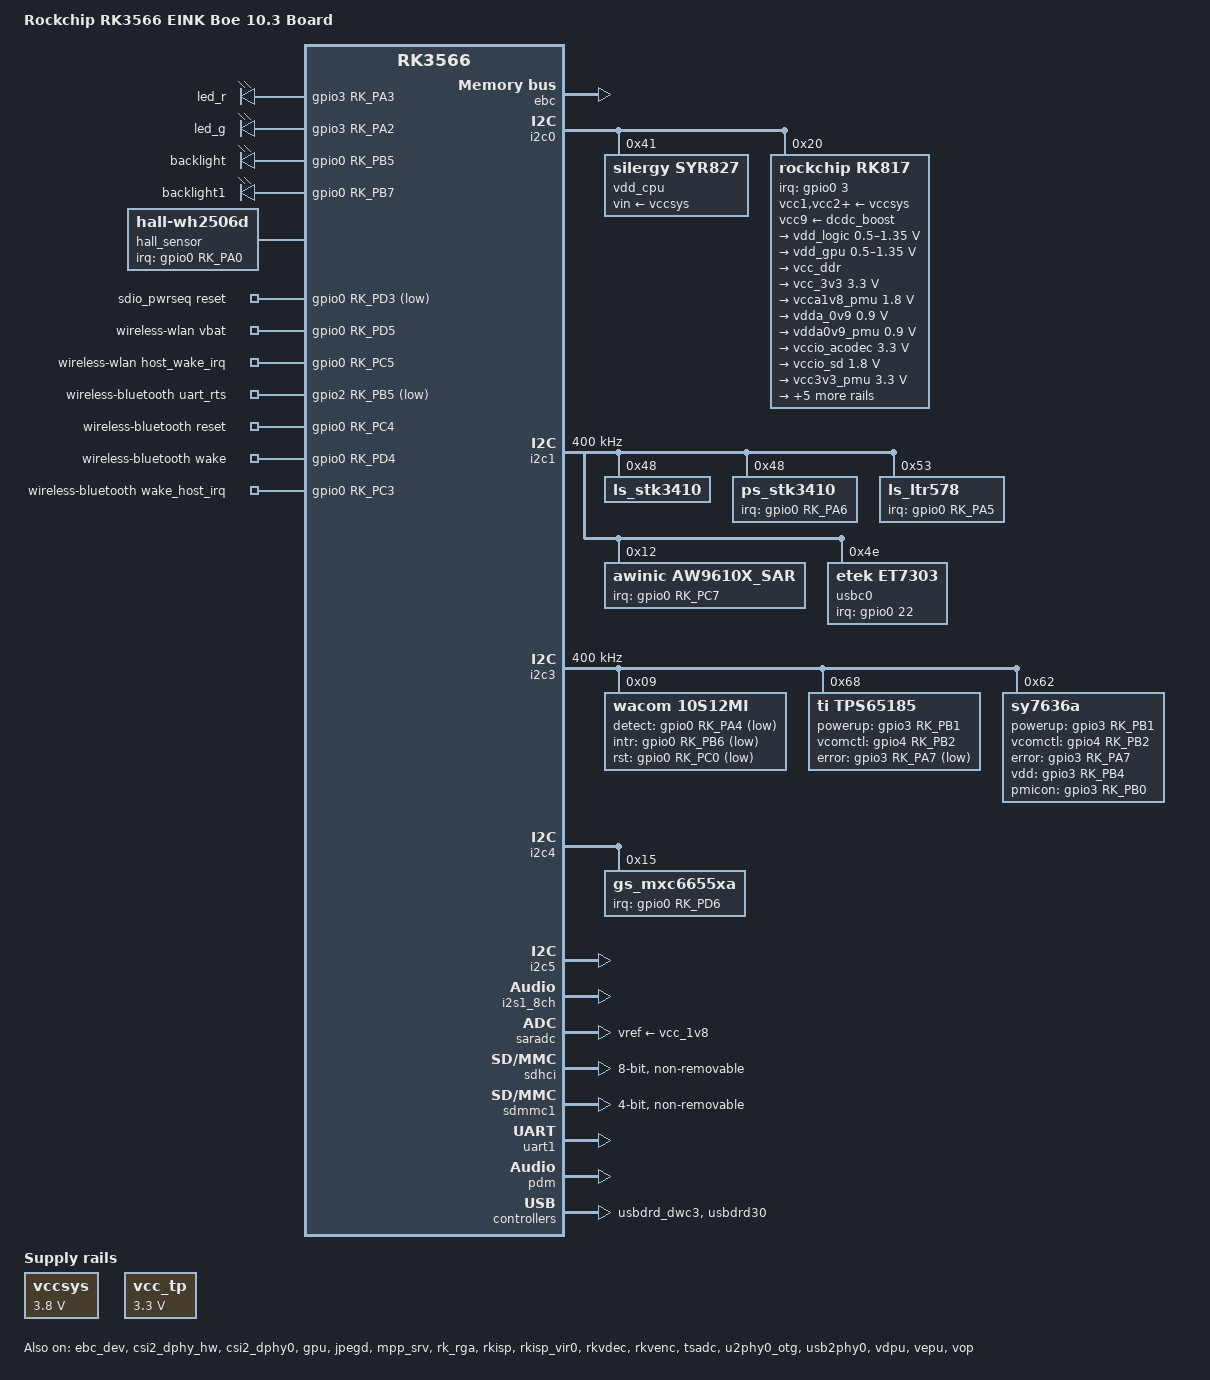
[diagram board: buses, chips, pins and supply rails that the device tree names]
// SPDX-License-Identifier: (GPL-2.0+ OR MIT)
/*
 * Copyright (c) 2020 Rockchip Electronics Co., Ltd.
 *
 */

/dts-v1/;

#include <dt-bindings/gpio/gpio.h>
#include <dt-bindings/pinctrl/rockchip.h>
#include <dt-bindings/input/rk-input.h>
#include <dt-bindings/sensor-dev.h>
#include <dt-bindings/display/drm_mipi_dsi.h>
#include <dt-bindings/usb/pd.h>
#include "rk3566.dtsi"
#include "rk3568-android.dtsi"
#include "rk3566-eink.dtsi"

/ {
    model = "Rockchip RK3566 EINK Boe 10.3 Board";
    compatible = "rockchip,rk3566-rk817-eink", "rockchip,rk3566";

    ramoops_mem: ramoops_mem {
        reg = <0x0 0x110000 0x0 0xf0000>;
        reg-names = "ramoops_mem";
    };

    ramoops {
        compatible = "ramoops";
        record-size = <0x0 0x20000>;
        console-size = <0x0 0x80000>;
        ftrace-size = <0x0 0x00000>;
        pmsg-size = <0x0 0x50000>;
        memory-region = <&ramoops_mem>;
    };

    charge-animation {
        status = "okay";
        compatible = "rockchip,uboot-charge";
        rockchip,uboot-charge-on = <0>;
        rockchip,android-charge-on = <0>;
        rockchip,uboot-low-power-voltage = <3350>;
        rockchip,screen-on-voltage = <3400>;
        rockchip,auto-wakeup-interval = <60>;
    };

    adc_keys: adc-keys {
        status = "disabled";
        compatible = "adc-keys";
        io-channels = <&saradc 0>;
        io-channel-names = "buttons";
        keyup-threshold-microvolt = <1800000>;
        poll-interval = <100>;

        vol-up-key {
            label = "volume up";
            linux,code = <KEY_VOLUMEUP>;
            press-threshold-microvolt = <9000>;
        };

        vol-down-key {
            label = "volume down";
            linux,code = <KEY_VOLUMEDOWN>;
            press-threshold-microvolt = <235000>;
        };
    };

    gpio_keys: gpio-keys {
        status = "disabled";
        compatible = "gpio-keys";
        autorepeat;

        BACK {
            label = "GPIO Key Home";
            debounce-interval = <10>;
            interrupt-parent = <&gpio0>;
            interrupts = <13 IRQ_TYPE_LEVEL_LOW>;
            linux,input-type = <EV_KEY>;
            linux,code = <KEY_BACK>;
        };
    };

    leds: gpio-leds {
        status = "okay";
        compatible = "gpio-leds";
        led@2 {
            gpios = <&gpio3 RK_PA3 GPIO_ACTIVE_HIGH>;
            linux,default-trigger = "battery-charging";
            label = "led_r";
            retain-state-suspended;
        };

        led@1 {
            gpios = <&gpio3 RK_PA2 GPIO_ACTIVE_HIGH>;
            linux,default-trigger = "battery-charging-or-full";
            label = "led_g";
            default-state = "off";
        };
	led@3 {
            gpios = <&gpio0 RK_PB5 GPIO_ACTIVE_HIGH>;
            //linux,default-trigger = "battery-charging";
            label = "backlight";
            retain-state-suspended;
        };

        led@4 {
            gpios = <&gpio0 RK_PB7 GPIO_ACTIVE_HIGH>;
            //linux,default-trigger = "battery-charging-or-full";
            label = "backlight1";
            default-state = "off";
        };
    };

    hall_sensor: hall-wh2506d {
        status = "okay";
        compatible = "hall-wh2506d";
        pinctrl-names = "default";
        pinctrl-0 = <&hall_irq_gpio>;
        irq-gpio = <&gpio0 RK_PA0 IRQ_TYPE_EDGE_BOTH>;
        hall-active = <1>;
    };

    vccsys: vccsys {
        compatible = "regulator-fixed";
        regulator-name = "vcc3v8_sys";
        regulator-always-on;
        regulator-boot-on;
        regulator-min-microvolt = <3800000>;
        regulator-max-microvolt = <3800000>;
    };

    vcc_tp: vcc-tp-regulator {
        compatible = "regulator-fixed";
        enable-active-high;
        regulator-name = "vcc_tp";
        regulator-boot-on;
        startup-delay-us = <10000>;
        regulator-min-microvolt = <3300000>;
        regulator-max-microvolt = <3300000>;
    };

    rk817_sound: rk817-sound {
        compatible = "simple-audio-card";
        simple-audio-card,format = "i2s";
        simple-audio-card,name = "rockchip,rk817-codec";
        simple-audio-card,mclk-fs = <256>;

        simple-audio-card,cpu {
            sound-dai = <&i2s1_8ch>;
        };
        simple-audio-card,codec {
            sound-dai = <&rk817_codec>;
        };
    };

    pdmics: dummy-codec {
        status = "okay";
        compatible = "rockchip,dummy-codec";
        #sound-dai-cells = <0>;
    };

    pdm_mic_array: pdm-mic-array {
        status = "okay";
        compatible = "simple-audio-card";
        simple-audio-card,name = "rockchip,pdm-mic-array";
        simple-audio-card,cpu {
            sound-dai = <&pdm>;
        };
        simple-audio-card,codec {
            sound-dai = <&pdmics>;
        };
    };

    sdio_pwrseq: sdio-pwrseq {
        compatible = "mmc-pwrseq-simple";
        clocks = <&rk817 1>;
        clock-names = "ext_clock";
        pinctrl-names = "default";
        pinctrl-0 = <&wifi_enable_h>;

        /*
         * On the module itself this is one of these (depending
         * on the actual card populated):
         * - SDIO_RESET_L_WL_REG_ON
         * - PDN (power down when low)
         */
        post-power-on-delay-ms = <200>;
        reset-gpios = <&gpio0 RK_PD3 GPIO_ACTIVE_LOW>;
    };

    wireless-wlan {
        status = "okay";
        compatible = "wlan-platdata";
        rockchip,grf = <&grf>;
        wifi_chip_type = "";
        pinctrl-names = "default";
        pinctrl-0 = <&wifi_gpio>;
        WIFI,vbat_gpio = <&gpio0 RK_PD5 GPIO_ACTIVE_HIGH>;
        WIFI,host_wake_irq = <&gpio0 RK_PC5 GPIO_ACTIVE_HIGH>;
    };

    wireless-bluetooth {
        status = "okay";
        compatible = "bluetooth-platdata";
        clocks = <&rk817 1>;
        clock-names = "ext_clock";
        wifi-bt-power-toggle;
        uart_rts_gpios = <&gpio2 RK_PB5 GPIO_ACTIVE_LOW>;
        pinctrl-names = "default", "rts_gpio";
        pinctrl-0 = <&uart1m0_rtsn>, <&bt_reset_gpio>, <&bt_wake_gpio>, <&bt_irq_gpio>;
        pinctrl-1 = <&uart1_gpios>;
        BT,reset_gpio = <&gpio0 RK_PC4 GPIO_ACTIVE_HIGH>;
        BT,wake_gpio = <&gpio0 RK_PD4 GPIO_ACTIVE_HIGH>;
        BT,wake_host_irq = <&gpio0 RK_PC3 GPIO_ACTIVE_HIGH>;
    };

    backlight: backlight {
        compatible = "pwm-backlight";
        pwms = <&pwm0 0 25000 0>;
        brightness-levels = <
            0   20  20  21  21  22  22  23
            23  24  24  25  25  26  26  27
            27  28  28  29  29  30  30  31
            31  32  32  33  33  34  34  35
            35  36  36  37  37  38  38  39
            40  41  42  43  44  45  46  47
            48  49  50  51  52  53  54  55
            56  57  58  59  60  61  62  63
            64  65  66  67  68  69  70  71
            72  73  74  75  76  77  78  79
            80  81  82  83  84  85  86  87
            88  89  90  91  92  93  94  95
            96  97  98  99 100 101 102 103
            104 105 106 107 108 109 110 111
            112 113 114 115 116 117 118 119
            120 121 122 123 124 125 126 127
            128 129 130 131 132 133 134 135
            136 137 138 139 140 141 142 143
            144 145 146 147 148 149 150 151
            152 153 154 155 156 157 158 159
            160 161 162 163 164 165 166 167
            168 169 170 171 172 173 174 175
            176 177 178 179 180 181 182 183
            184 185 186 187 188 189 190 191
            192 193 194 195 196 197 198 199
            200 201 202 203 204 205 206 207
            208 209 210 211 212 213 214 215
            216 217 218 219 220 221 222 223
            224 225 226 227 228 229 230 231
            232 233 234 235 236 237 238 239
            240 241 242 243 244 245 246 247
            248 249 250 251 252 253 254 255
        >;
        default-brightness-level = <200>;
		status = "disabled";
    };
};

&ebc {
    /* clock rate 1000M/n, (n=1~32) */
    assigned-clocks = <&cru CPLL_333M>, <&cru DCLK_EBC>;
    assigned-clock-rates = <34000000>, <34000000>;
    status = "okay";
};

&ebc_dev {
    pmic = <&sy7636a>;
    /* ES103TC1 */
    panel,width = <1872>;
    panel,height = <1404>;
    panel,vir_width = <1872>;
    panel,vir_height = <1404>;
    panel,sdck = <34000000>;
    panel,lsl = <18>;
    panel,lbl = <17>;
    panel,ldl = <234>;
    panel,lel = <15>;  // 470ns
    panel,gdck-sta = <34>;
    panel,lgonl = <192>;
    panel,fsl = <1>;
    panel,fbl = <4>;
    panel,fdl = <1404>;
    panel,fel = <12>;
    panel,mirror = <1>;
    panel,panel_16bit = <1>;
    panel,panel_color = <0>;
    panel,width-mm = <210>;
    panel,height-mm = <157>;
	panel,dpi = <220>;
    panel,vcom-mv = <1670>;
    status = "okay";
};

// 20220523,hsl fix: 6*fb_size + 2*lcd_size + 512K 
// 10.3: 6*2628288 + 2*657088 + 512*1024= 17608192 = 0X10CAE00
&display_reserved {
	reg = <0x0 0x10900000 0x0 0x10d0000>;
};

&cpu0 {
    cpu-supply = <&vdd_cpu>;
};

&csi2_dphy_hw {
    status = "okay";
};

&csi2_dphy0 {
    status = "okay";

    ports {
        #address-cells = <1>;
        #size-cells = <0>;
        port@0 {
            reg = <0>;
            #address-cells = <1>;
            #size-cells = <0>;

            mipi_in_ucam0: endpoint@0 {
                reg = <0>;
                //remote-endpoint = <&gc5035_out>;
                data-lanes = <1 2>;
            };
        };
        port@1 {
            reg = <1>;
            #address-cells = <1>;
            #size-cells = <0>;

            csidphy0_out: endpoint@0 {
                reg = <0>;
                remote-endpoint = <&isp0_in>;
            };
        };
    };
};

&gpu {
    mali-supply = <&vdd_gpu>;
    status = "okay";
};

&hdmi {
    status = "disabled";
};

&hdmi_in_vp0 {
    status = "disabled";
};

&hdmi_in_vp1 {
    status = "disabled";
};

&i2c0 {
    status = "okay";

    vdd_cpu: syr827@41 {
        status = "okay";
        compatible = "silergy,syr827";
        reg = <0x41>;
        vin-supply = <&vccsys>;
        regulator-compatible = "fan53555-reg";
        regulator-name = "vdd_cpu";
        regulator-min-microvolt = <712500>;
        regulator-max-microvolt = <1390000>;
        regulator-init-microvolt = <900000>;
        regulator-ramp-delay = <2300>;
        fcs,suspend-voltage-selector = <0>;
        regulator-initial-mode = <0x2>;
        regulator-boot-on;
        regulator-always-on;
        regulator-state-mem {
            regulator-off-in-suspend;
            regulator-suspend-microvolt = <1100000>;
            regulator-changeable-in-suspend;
        };
    };

    rk817: pmic@20 {
        compatible = "rockchip,rk817";
        reg = <0x20>;
        interrupt-parent = <&gpio0>;
        interrupts = <3 IRQ_TYPE_LEVEL_LOW>;

        pinctrl-names = "default", "pmic-sleep", "pmic-power-off", "pmic-reset";
        pinctrl-0 = <&pmic_int>;
        pinctrl-1 = <&soc_slppin_slp>, <&rk817_slppin_slp>;
        pinctrl-2 = <&soc_slppin_gpio>, <&rk817_slppin_pwrdn>;
        pinctrl-3 = <&soc_slppin_rst>, <&rk817_slppin_rst>;
        rockchip,system-power-controller;
        wakeup-source;
        #clock-cells = <1>;
        clock-output-names = "rk808-clkout1", "rk808-clkout2";
        //fb-inner-reg-idxs = <2>;
        /* 1: rst regs (default in codes), 0: rst the pmic */
        pmic-reset-func = <1>;
        /* not save the PMIC_POWER_EN register in uboot */
        not-save-power-en = <1>;
        vcc1-supply = <&vccsys>;
        vcc2-supply = <&vccsys>;
        vcc3-supply = <&vccsys>;
        vcc4-supply = <&vccsys>;
        vcc5-supply = <&vccsys>;
        vcc6-supply = <&vccsys>;
        vcc7-supply = <&vccsys>;
        vcc8-supply = <&vccsys>;
        vcc9-supply = <&dcdc_boost>;

        pwrkey {
            status = "okay";
        };

        pinctrl_rk8xx: pinctrl_rk8xx {
            gpio-controller;
            #gpio-cells = <2>;

            rk817_slppin_null: rk817_slppin_null {
                pins = "gpio_slp";
                function = "pin_fun0";
            };

            rk817_slppin_slp: rk817_slppin_slp {
                pins = "gpio_slp";
                function = "pin_fun1";
            };

            rk817_slppin_pwrdn: rk817_slppin_pwrdn {
                pins = "gpio_slp";
                function = "pin_fun2";
            };

            rk817_slppin_rst: rk817_slppin_rst {
                pins = "gpio_slp";
                function = "pin_fun3";
            };
        };

        regulators {
            vdd_logic: DCDC_REG1 {
                regulator-always-on;
                regulator-boot-on;
                regulator-min-microvolt = <500000>;
                regulator-max-microvolt = <1350000>;
                regulator-init-microvolt = <900000>;
                regulator-ramp-delay = <6001>;
                regulator-initial-mode = <0x2>;
                regulator-name = "vdd_logic";
                regulator-state-mem {
                    regulator-off-in-suspend;
                    regulator-suspend-microvolt = <900000>;
                    regulator-changeable-in-suspend;
                };
            };

            vdd_gpu: DCDC_REG2 {
                regulator-always-on;
                regulator-boot-on;
                regulator-min-microvolt = <500000>;
                regulator-max-microvolt = <1350000>;
                regulator-init-microvolt = <900000>;
                regulator-ramp-delay = <6001>;
                regulator-initial-mode = <0x2>;
                regulator-name = "vdd_gpu";
                    regulator-state-mem {
                    regulator-off-in-suspend;
                    regulator-changeable-in-suspend;
                };
            };

            vcc_ddr: DCDC_REG3 {
                regulator-always-on;
                regulator-boot-on;
                regulator-initial-mode = <0x2>;
                regulator-name = "vcc_ddr";
                regulator-state-mem {
                    regulator-on-in-suspend;
                };
            };

            vcc_3v3: DCDC_REG4 {
                regulator-always-on;
                regulator-boot-on;
                regulator-min-microvolt = <3300000>;
                regulator-max-microvolt = <3300000>;
                regulator-initial-mode = <0x2>;
                regulator-name = "vcc_3v3";
                regulator-state-mem {
                    regulator-off-in-suspend;
                    regulator-changeable-in-suspend;
                };
            };

            vcca1v8_pmu: LDO_REG1 {
                regulator-always-on;
                regulator-boot-on;
                regulator-min-microvolt = <1800000>;
                regulator-max-microvolt = <1800000>;
                regulator-name = "vcca1v8_pmu";
                regulator-state-mem {
                    regulator-off-in-suspend;
                    regulator-suspend-microvolt = <1800000>;
                    regulator-changeable-in-suspend;
                };
            };

            vdda_0v9: LDO_REG2 {
                regulator-always-on;
                regulator-boot-on;
                regulator-min-microvolt = <900000>;
                regulator-max-microvolt = <900000>;
                regulator-name = "vdda_0v9";
                regulator-state-mem {
                    regulator-off-in-suspend;
                    regulator-changeable-in-suspend;
                };
            };

            vdda0v9_pmu: LDO_REG3 {
                regulator-always-on;
                regulator-boot-on;
                regulator-min-microvolt = <900000>;
                regulator-max-microvolt = <900000>;
                regulator-name = "vdda0v9_pmu";
                regulator-state-mem {
                    regulator-off-in-suspend;
                    regulator-suspend-microvolt = <900000>;
                    regulator-changeable-in-suspend;
                };
            };

            vccio_acodec: LDO_REG4 {
                regulator-always-on;
                regulator-boot-on;
                regulator-min-microvolt = <3300000>;
                regulator-max-microvolt = <3300000>;
                regulator-name = "vccio_acodec";
                regulator-state-mem {
                    regulator-off-in-suspend;
                    regulator-changeable-in-suspend;
                };
            };

            vccio_sd: LDO_REG5 {
                regulator-always-on;
                regulator-boot-on;
                regulator-min-microvolt = <1800000>;
                regulator-max-microvolt = <1800000>;
                regulator-name = "vccio_sd";
                regulator-state-mem {
                    regulator-on-in-suspend;
                    regulator-changeable-in-suspend;
                };
            };

            vcc3v3_pmu: LDO_REG6 {
                regulator-always-on;
                regulator-boot-on;
                regulator-min-microvolt = <3300000>;
                regulator-max-microvolt = <3300000>;
                regulator-name = "vcc3v3_pmu";
                regulator-state-mem {
                    regulator-off-in-suspend;
                    regulator-suspend-microvolt = <3000000>;
                    regulator-changeable-in-suspend;
                };
            };

            vcc_1v8: LDO_REG7 {
                regulator-always-on;
                regulator-boot-on;
                regulator-min-microvolt = <1800000>;
                regulator-max-microvolt = <1800000>;
                regulator-name = "vcc_1v8";
                regulator-state-mem {
                    regulator-off-in-suspend;
                    regulator-changeable-in-suspend;
                };
            };

            vcc1v8_dvp: LDO_REG8 {
                regulator-always-on;
                regulator-min-microvolt = <1800000>;
                regulator-max-microvolt = <1800000>;
                regulator-name = "vcc1v8_dvp";
                regulator-state-mem {
                    regulator-off-in-suspend;
                    regulator-changeable-in-suspend;
                };
            };

            sleep_sta_ctl: LDO_REG9 {
                regulator-name = "sleep_sta_ctl";
                regulator-state-mem {
                    regulator-off-in-suspend;
                    regulator-suspend-microvolt = <3300000>;
                    regulator-changeable-in-suspend;
                };
            };

            dcdc_boost: BOOST {
                regulator-always-on;
                regulator-boot-on;
                regulator-min-microvolt = <5000000>;
                regulator-max-microvolt = <5000000>;
                regulator-name = "boost";
                regulator-state-mem {
                    regulator-on-in-suspend;
                    regulator-changeable-in-suspend;
                };
            };

            otg_switch: OTG_SWITCH {
                regulator-name = "otg_switch";
                regulator-state-mem {
                    regulator-off-in-suspend;
                    regulator-changeable-in-suspend;
                };
            };
        };

        battery {
            compatible = "rk817,battery";
            ocv_table = <
                3400 3513 3578 3687 3734 3752 3763
                3766 3771 3784 3804 3836 3885 3925
                3962 4005 4063 4114 4169 4227 4303>;
            design_capacity = <4150>;
            design_qmax = <4565>;
            bat_res = <100>;
            sleep_enter_current = <150>;
            sleep_exit_current = <180>;
            sleep_filter_current = <100>;
            power_off_thresd = <3450>;
            zero_algorithm_vol = <3850>;
            max_soc_offset = <60>;
            monitor_sec = <5>;
            sample_res = <10>;
            virtual_power = <0>;
            low_power_sleep = <1>;
        };

        charger {
            compatible = "rk817,charger";
            min_input_voltage = <4500>;
            max_input_current = <1500>;
            max_chrg_current = <2000>;
            max_chrg_voltage = <4300>;
            chrg_term_mode = <0>;
            chrg_finish_cur = <300>;
            virtual_power = <0>;
            dc_det_adc = <0>;
            extcon = <&usbc0>;
            gate_function_disable = <1>;
        };

        rk817_codec: codec {
            #sound-dai-cells = <0>;
            compatible = "rockchip,rk817-codec";
            clocks = <&cru I2S1_MCLKOUT>;
            clock-names = "mclk";
            assigned-clocks = <&cru I2S1_MCLKOUT>, <&cru I2S1_MCLK_TX_IOE>;
            assigned-clock-rates = <12288000>;
            assigned-clock-parents = <&cru I2S1_MCLKOUT_TX>, <&cru I2S1_MCLKOUT_TX>;
            pinctrl-names = "default";
            pinctrl-0 = <&i2s1m0_mclk>;
            hp-volume = <20>;
            spk-volume = <3>;
            out-l2spk-r2hp;
            spk-ctl-gpios = <&gpio1 RK_PB1 GPIO_ACTIVE_HIGH>;
            status = "okay";
        };
    };
};

&i2c1 {
    status = "okay";
    clock-frequency = <400000>;

    ls_stk3410: light@48 {
        status = "okay";
        compatible = "ls_stk3410";
        reg = <0x48>;
        type = <SENSOR_TYPE_LIGHT>;
        irq_enable = <0>;
        als_threshold_high = <100>;
        als_threshold_low = <10>;
        als_ctrl_gain = <2>; /* 0:x1 1:x4 2:x16 3:x64 */
        poll_delay_ms = <100>;
    };

    ps_stk3410: proximity@48 {
        status = "okay";
        compatible = "ps_stk3410";
        reg = <0x48>;
        type = <SENSOR_TYPE_PROXIMITY>;
        pinctrl-names = "default";
        pinctrl-0 = <&stk3410_irq_gpio>;
        irq-gpio = <&gpio0 RK_PA6 IRQ_TYPE_LEVEL_LOW>;
        irq_enable = <1>;
        ps_threshold_high = <0x200>;
        ps_threshold_low = <0x100>;
        ps_ctrl_gain = <3>; /* 0:x1 1:x4 2:x16 3:x64 */
        ps_led_current = <3>; /* 0:12.5mA 1:25mA 2:50mA 3:100mA */
        poll_delay_ms = <100>;
    };

    ls_ltr578: light@53 {
        status = "okay";
        compatible = "ls_ltr578";
        reg = <0x53>;
        type = <SENSOR_TYPE_LIGHT>;
        pinctrl-names = "default";
        pinctrl-0 = <&ltr578_irq_gpio>;
        irq-gpio = <&gpio0 RK_PA5 IRQ_TYPE_LEVEL_LOW>;
        irq_enable = <1>;
        als_threshold_high = <100>;
        als_threshold_low = <10>;
        als_ctrl_gain = <2>; /* 0:x1 1:x4 2:x16 3:x64 */
        poll_delay_ms = <100>;
    };

    aw9610x_sar: pressure@12 {
        status = "okay";
        compatible = "awinic,aw9610x_sar";
        reg = <0x12>;
        pinctrl-names = "default";
        pinctrl-0 = <&aw9610x_irq_gpio>;
        irq-gpio = <&gpio0 RK_PC7 IRQ_TYPE_LEVEL_LOW>;
        aw9610x,using-firmware;
        channel_use_flag = <0x1f>;
        sar-num = < 0 >;
    };

    usbc0: et7303@4e {
        compatible = "etek,et7303";
        reg = <0x4e>;
        interrupt-parent = <&gpio0>;
        interrupts = <22 IRQ_TYPE_LEVEL_LOW>;
        pinctrl-names = "default";
        pinctrl-0 = <&et7303_int>;
        status = "okay";

        usb_con: connector {
            data-role = "dual";
            power-role = "dual";
            try-power-role = "sink";
            source-pdos = <PDO_FIXED(5000, 2000, PDO_FIXED_USB_COMM)>;
            sink-pdos = <PDO_FIXED(5000, 2000, PDO_FIXED_USB_COMM)>;
            op-sink-microwatt = <10000000>;
        };
    };
};

&i2c3 {
    status = "okay";
    clock-frequency = <400000>;
    pinctrl-names = "default";
    pinctrl-0 = <&i2c3m1_xfer>;

    wacom: wacom@09 {
        status = "okay";
        compatible = "wacom,10S12MI";
        reg = <0x09>;
        hid-descr-addr = <0x0001>;
        pinctrl-names = "default";
        pinctrl-0 = <&emr_gpio>;
        gpio_detect = <&gpio0 RK_PA4 GPIO_ACTIVE_LOW>;
        gpio_intr = <&gpio0 RK_PB6 GPIO_ACTIVE_LOW>;
        gpio_rst = <&gpio0 RK_PC0 GPIO_ACTIVE_LOW>;
        revert_x = <1>;
        revert_y = <1>;
        xy_exchange = <0>;
        wacom-support-wakeup;
    };

    tps65185: tps65185@68 {
        status = "okay";
        compatible = "ti,tps65185";
        reg = <0x68>;
        pinctrl-names = "default";
        pinctrl-0 = <&einkpmic_gpio>;
        powerup-gpios = <&gpio3 RK_PB1 GPIO_ACTIVE_HIGH>;
        vcomctl-gpios = <&gpio4 RK_PB2 GPIO_ACTIVE_HIGH>;
        error-gpios = <&gpio3 RK_PA7 GPIO_ACTIVE_LOW>;
    };

    sy7636a: sy7636a@62 {
        status = "okay";
        compatible = "sy7636a";
        reg = <0x62>;
        pinctrl-names = "default";
        pinctrl-0 = <&einkpmic_gpio>;
        powerup-gpios = <&gpio3 RK_PB1 GPIO_ACTIVE_HIGH>;
        vcomctl-gpios = <&gpio4 RK_PB2 GPIO_ACTIVE_HIGH>;
        error-gpios = <&gpio3 RK_PA7 GPIO_ACTIVE_HIGH>;
        vdd-gpios = <&gpio3 RK_PB4 GPIO_ACTIVE_HIGH>;
        pmicon-gpios  = <&gpio3 RK_PB0 GPIO_ACTIVE_HIGH>;
    };
};

&i2c4 {
    status = "okay";
    pinctrl-names = "default";
    pinctrl-0 = <&i2c4m1_xfer>;

    gs_mxc6655xa: gsensor@15 {
        status = "okay";
        compatible = "gs_mxc6655xa";
        reg = <0x15>;
        pinctrl-names = "default";
        pinctrl-0 = <&mxc6655xa_irq_gpio>;
        irq-gpio = <&gpio0 RK_PD6 IRQ_TYPE_LEVEL_LOW>;
        irq_enable = <0>;
        poll_delay_ms = <20>;
        type = <SENSOR_TYPE_ACCEL>;
        power-off-in-suspend = <1>;
        layout = <8>;
    };
};

&i2c5 {
    status = "okay";
    pinctrl-names = "default";
    pinctrl-0 = <&i2c5m1_xfer>;
};

&i2s0_8ch {
    status = "disabled";
};

&i2s1_8ch {
    status = "okay";
    rockchip,clk-trcm = <1>;
    pinctrl-names = "default";
    pinctrl-0 = <&i2s1m0_sclktx &i2s1m0_lrcktx &i2s1m0_sdi0 &i2s1m0_sdo0>;
};

&spi3 {
    status = "disabled";
};

&jpegd {
    status = "okay";
};

&jpegd_mmu {
    status = "okay";
};

&video_phy0 {
    status = "disabled";
};

&mpp_srv {
    status = "okay";
};

&nandc0 {
    status = "disabled";
};

&pinctrl {
    wacom {
        wacom_gpio: wacom-gpio {
            rockchip,pins =
                <0 RK_PC0 RK_FUNC_GPIO &pcfg_pull_up>,
                <0 RK_PC1 RK_FUNC_GPIO &pcfg_pull_up>,
                <0 RK_PB6 RK_FUNC_GPIO &pcfg_pull_up>;
        };
    };

    pmic {
        pmic_int: pmic_int {
            rockchip,pins =
                <0 RK_PA3 RK_FUNC_GPIO &pcfg_pull_up>;
        };

        soc_slppin_gpio: soc_slppin_gpio {
            rockchip,pins =
                <0 RK_PA2 RK_FUNC_GPIO &pcfg_output_low_pull_down>;
        };

        soc_slppin_slp: soc_slppin_slp {
            rockchip,pins =
                <0 RK_PA2 RK_FUNC_1 &pcfg_pull_up>;
        };

        soc_slppin_rst: soc_slppin_rst {
            rockchip,pins =
                <0 RK_PA2 RK_FUNC_2 &pcfg_pull_none>;
        };
    };

    eink_pmic {
        einkpmic_gpio: einkpmic-gpio {
            rockchip,pins =
                <3 RK_PA7 RK_FUNC_GPIO &pcfg_pull_none>,
                <3 RK_PB0 RK_FUNC_GPIO &pcfg_pull_none>,
                <3 RK_PB1 RK_FUNC_GPIO &pcfg_pull_down>,
                <3 RK_PB4 RK_FUNC_GPIO &pcfg_pull_none>,
                <4 RK_PB2 RK_FUNC_GPIO &pcfg_pull_none>;
        };
    };

    sdio-pwrseq {
        wifi_enable_h: wifi-enable-h {
            rockchip,pins = <0 RK_PD3 RK_FUNC_GPIO &pcfg_pull_none>;
        };
    };

    wireless-wlan {
        wifi_gpio: wifi-gpio {
            rockchip,pins =
                <0 RK_PC5 RK_FUNC_GPIO &pcfg_pull_none>,
                <0 RK_PD5 RK_FUNC_GPIO &pcfg_pull_none>;
        };
    };

    backlight {
        backlight_gpio: backlight-gpio {
            rockchip,pins =
                <0 RK_PB5 RK_FUNC_GPIO &pcfg_pull_down>,
                <0 RK_PB7 RK_FUNC_GPIO &pcfg_pull_down>;
        };
    };
    wireless-bluetooth {
        uart1_gpios: uart1-gpios {
            rockchip,pins = <2 RK_PB5 RK_FUNC_GPIO &pcfg_pull_none>;
        };

        bt_reset_gpio: bt-reset-gpio {
            rockchip,pins = <0 RK_PC4 RK_FUNC_GPIO &pcfg_pull_none>;
        };

        bt_wake_gpio: bt-wake-gpio {
            rockchip,pins = <0 RK_PD4 RK_FUNC_GPIO &pcfg_pull_none>;
        };

        bt_irq_gpio: bt-irq-gpio {
            rockchip,pins = <0 RK_PC3 RK_FUNC_GPIO &pcfg_pull_up>;
        };
    };

    mxc6655xa {
        mxc6655xa_irq_gpio: mxc6655xa-irq-gpio {
            rockchip,pins = <0 RK_PD6 RK_FUNC_GPIO &pcfg_pull_none>;
        };
    };

    sensors {
        hall_irq_gpio: hall-irq-gpio {
            rockchip,pins = <0 RK_PA0 RK_FUNC_GPIO  &pcfg_pull_up>;
        };
        ltr578_irq_gpio: ltr578-irq-gpio {
            rockchip,pins = <0 RK_PA5 RK_FUNC_GPIO  &pcfg_pull_none>;
        };
        stk3410_irq_gpio: stk3410-irq-gpio {
            rockchip,pins = <0 RK_PA6 RK_FUNC_GPIO  &pcfg_pull_none>;
        };
        aw9610x_irq_gpio: aw9610x-irq-gpio {
            rockchip,pins = <0 RK_PC7 RK_FUNC_GPIO  &pcfg_pull_up>;
        };
    };

    typec {
        et7303_int: et7303-int {
            rockchip,pins = <0 RK_PC6 RK_FUNC_GPIO &pcfg_pull_none>;
        };
    };

    wacom {
        emr_gpio: emr-gpio {
            rockchip,pins =
                <0 RK_PA4 RK_FUNC_GPIO &pcfg_pull_up>,
                <0 RK_PB6 RK_FUNC_GPIO &pcfg_pull_up>,
                <0 RK_PC0 RK_FUNC_GPIO &pcfg_pull_up>;
        };
    };
};

&pmu_io_domains {
    status = "okay";
    pmuio1-supply = <&vcc3v3_pmu>;
    pmuio2-supply = <&vcc3v3_pmu>;
    vccio1-supply = <&vccio_acodec>;	// 3.3v
    vccio2-supply = <&vcc_1v8>;
    vccio3-supply = <&vcc_3v3>;
    vccio4-supply = <&vcca1v8_pmu>;
    vccio5-supply = <&vcc_3v3>;
    vccio6-supply = <&vcc_3v3>;
    vccio7-supply = <&vcc_3v3>;
};

&pwm0 {
    status = "disabled";//"okay";
};

&rk_rga {
    status = "okay";
};

&rkisp {
    status = "okay";
};

&rkisp_mmu {
    status = "okay";
};

&rkisp_vir0 {
    status = "okay";

    port {
        #address-cells = <1>;
        #size-cells = <0>;

        isp0_in: endpoint@0 {
            reg = <0>;
            remote-endpoint = <&csidphy0_out>;
        };
    };
};

&rkvdec {
    status = "okay";
};

&rkvdec_mmu {
    status = "okay";
};

&rkvenc {
    status = "okay";
};

&rkvenc_mmu {
    status = "okay";
};

&rockchip_suspend {
    status = "okay";

    rockchip,regulator-off-in-mem-lite =
        <&vdd_cpu>, <&vdd_logic>, <&vdd_gpu>, <&vcc_3v3>, <&vdda_0v9>, <&vcc_1v8>,
        <&vccio_acodec>, <&vccio_sd>, <&vcc1v8_dvp>, <&dcdc_boost>, <&otg_switch>,
        <&sleep_sta_ctl>;
    rockchip,regulator-on-in-mem-lite =
        <&vcc_ddr>, <&vdda0v9_pmu>, <&vcca1v8_pmu>, <&vcc3v3_pmu>;

    rockchip,regulator-off-in-mem =
        <&vdd_cpu>, <&vdd_logic>, <&vdd_gpu>, <&vcc_3v3>, <&vdda_0v9>, <&vcc_1v8>,
        <&vccio_acodec>, <&vccio_sd>, <&vcc1v8_dvp>, <&dcdc_boost>, <&otg_switch>,
        <&sleep_sta_ctl>;
    rockchip,regulator-on-in-mem =
        <&vcc_ddr>, <&vdda0v9_pmu>, <&vcca1v8_pmu>, <&vcc3v3_pmu>;

    rockchip,regulator-off-in-mem-ultra =
        <&vdd_logic>, <&vdd_gpu>, <&vcc_ddr>, <&vcc_3v3>, <&vdda_0v9>, <&vcc_1v8>,
        <&vdda0v9_pmu>, <&vcca1v8_pmu>, <&vcc3v3_pmu>, <&vccio_acodec>, <&vccio_sd>,
        <&vcc1v8_dvp>, <&dcdc_boost>, <&otg_switch>;
    rockchip,regulator-on-in-mem-ultra = <&vdd_cpu>, <&sleep_sta_ctl>;
};

&saradc {
    status = "okay";
    vref-supply = <&vcc_1v8>;
};

&sdhci {
    bus-width = <8>;
    supports-emmc;
    non-removable;
    keep-power-in-suspend;
    max-frequency = <200000000>;
    status = "okay";
};

&sdmmc1 {
    max-frequency = <150000000>;
    supports-sdio;
    bus-width = <4>;
    disable-wp;
    cap-sd-highspeed;
    cap-sdio-irq;
    keep-power-in-suspend;
    mmc-pwrseq = <&sdio_pwrseq>;
    non-removable;
    pinctrl-names = "default";
    pinctrl-0 = <&sdmmc1_bus4 &sdmmc1_cmd &sdmmc1_clk>;
    sd-uhs-sdr104;
    rockchip,default-sample-phase = <90>;
    status = "okay";
};

&tsadc {
    status = "okay";
};

&uart1 {
    status = "okay";
    pinctrl-names = "default";
    pinctrl-0 = <&uart1m0_xfer &uart1m0_ctsn>;
};

&pdm {
    status = "okay";
    rockchip,path-map = <1 0 2 3>;
    #sound-dai-cells = <0>;
    pinctrl-names = "default";
    pinctrl-0 = <&pdmm0_clk1 &pdmm0_sdi1>;
};

&u2phy0_otg {
    status = "okay";
};

&usb2phy0 {
    status = "okay";
    extcon = <&usbc0>;
};

&usbdrd_dwc3 {
    status = "okay";
    extcon = <&usbc0>;
};

&usbdrd30 {
    status = "okay";
};

&vdpu {
    status = "okay";
};

&vdpu_mmu {
    status = "okay";
};

&vepu {
    status = "okay";
};

&vepu_mmu {
    status = "okay";
};

&vop {
    status = "okay";
};

&vop_mmu {
    status = "okay";
};
